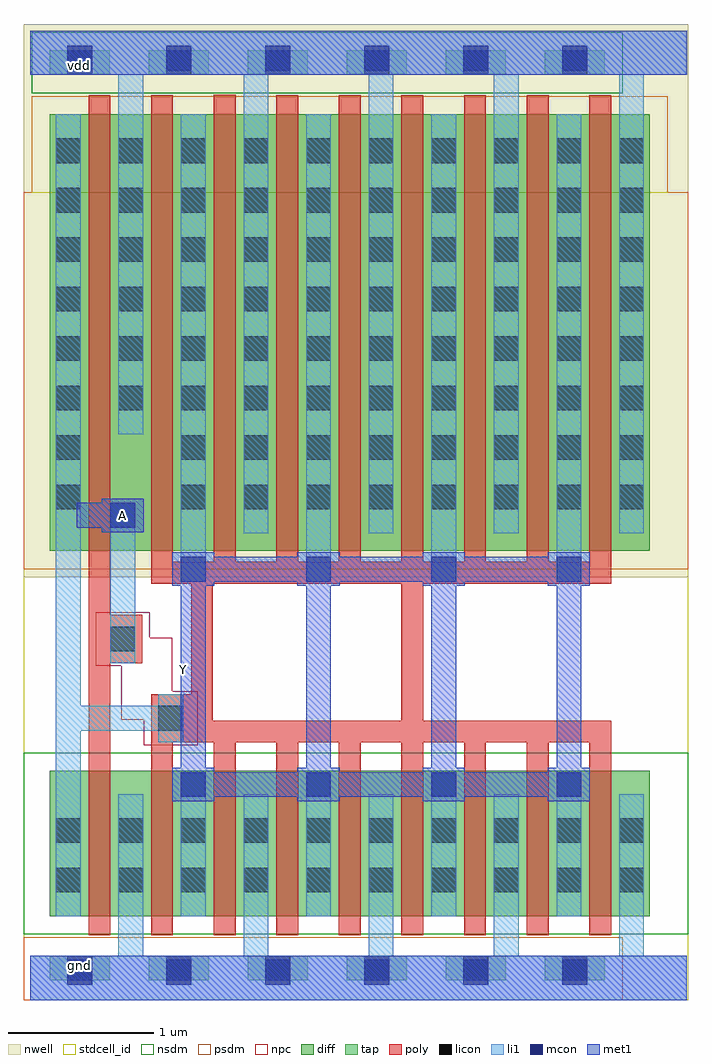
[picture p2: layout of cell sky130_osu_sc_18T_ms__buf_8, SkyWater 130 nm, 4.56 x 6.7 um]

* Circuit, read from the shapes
.subckt sky130_osu_sc_18T_ms__buf_8 A Y gnd vdd
XM1 gnd A n1 gnd sky130_fd_pr__nfet_01v8 w=1 l=0.15
XM2 Y n1 gnd gnd sky130_fd_pr__nfet_01v8 w=1 l=0.15 m=8
XM3 vdd A n1 vdd sky130_fd_pr__pfet_01v8 w=3 l=0.15
XM4 Y n1 vdd vdd sky130_fd_pr__pfet_01v8 w=3 l=0.15 m=8
.ends

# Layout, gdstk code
import gdstk
lib = gdstk.Library(unit=1e-6, precision=1e-09)
def R(c, l, rs):  # rectangles x0, y0, x1, y1
    for r in rs: c.add(gdstk.rectangle(r[:2], r[2:], *l))
def A(c, l, x, y, w, h, nx, ny, dx, dy):  # array of equal rectangles
    R(c, l, [(x+i*dx, y+j*dy, x+i*dx+w, y+j*dy+h) for i in range(nx) for j in range(ny)])
nwell = (64, 20)
diff = (65, 20)
tap = (65, 44)
poly = (66, 20)
licon = (66, 44)
li1 = (67, 20)
mcon = (67, 44)
met1 = (68, 20)
stdcell_id = (81, 4)
nsdm = (93, 44)
psdm = (94, 20)
npc = (95, 20)

sky130_osu_sc_18t_ms__bu = lib.new_cell('sky130_osu_sc_18T_ms__buf_8')
R(sky130_osu_sc_18t_ms__bu, nwell, [(-0.045,2.905,4.52,6.705)])
R(sky130_osu_sc_18t_ms__bu, diff, [(0.135,0.575,4.255,1.575), (0.135,3.085,4.255,6.085)])
A(sky130_osu_sc_18t_ms__bu, tap, 0.135, 0.135, 0.41, 0.17, 6, 2, 0.68, 6.22)
A(sky130_osu_sc_18t_ms__bu, poly, 0.83, 0.445, 0.15, 1.325, 8, 1, 0.43, 0)
A(sky130_osu_sc_18t_ms__bu, poly, 1.69, 3.01, 0.15, 3.205, 6, 1, 0.43, 0)
R(sky130_osu_sc_18t_ms__bu, poly, [(0.4,0.445,0.55,2.315), (0.83,1.77,3.99,1.92), (0.83,1.92,1.255,2.1), (2.55,1.92,2.7,2.86), (1.105,2.1,1.255,2.86), (0.4,2.315,0.77,2.645), (0.4,2.645,0.55,6.215), (0.83,2.86,3.99,3.01), (0.83,3.01,0.98,6.215), (1.26,3.01,1.41,6.22)])
A(sky130_osu_sc_18t_ms__bu, licon, 0.255, 0.135, 0.17, 0.17, 6, 2, 0.68, 6.22)
A(sky130_osu_sc_18t_ms__bu, licon, 0.175, 0.74, 0.17, 0.17, 10, 2, 0.43, 0.34)
A(sky130_osu_sc_18t_ms__bu, licon, 1.035, 3.37, 0.17, 0.17, 8, 2, 0.43, 0.34)
A(sky130_osu_sc_18t_ms__bu, licon, 0.175, 4.05, 0.17, 0.17, 10, 6, 0.43, 0.34)
R(sky130_osu_sc_18t_ms__bu, licon, [(0.88,1.85,1.05,2.02), (0.55,2.395,0.72,2.565), (0.175,3.37,0.345,3.54), (0.175,3.71,0.345,3.88)])
A(sky130_osu_sc_18t_ms__bu, li1, 0.605, 0.305, 0.17, 1.11, 5, 1, 0.86, 0)
A(sky130_osu_sc_18t_ms__bu, li1, 1.035, 0.575, 0.17, 0.99, 4, 1, 0.86, 0)
A(sky130_osu_sc_18t_ms__bu, li1, 1.035, 2.875, 0.17, 3.21, 4, 1, 0.86, 0)
A(sky130_osu_sc_18t_ms__bu, li1, 1.465, 3.205, 0.17, 3.15, 4, 1, 0.86, 0)
R(sky130_osu_sc_18t_ms__bu, li1, [(0,0,4.51,0.305), (0.175,0.575,0.345,1.85), (0.88,1.77,1.05,1.85), (0.175,1.85,1.05,2.02), (0.175,2.02,0.345,6.085), (0.88,2.02,1.05,2.1), (0.55,2.315,0.72,3.415), (0.605,3.885,0.775,6.355), (0,6.355,4.51,6.66)])
A(sky130_osu_sc_18t_ms__bu, mcon, 0.255, 0.105, 0.17, 0.17, 6, 2, 0.68, 6.28)
A(sky130_osu_sc_18t_ms__bu, mcon, 1.035, 1.395, 0.17, 0.17, 4, 2, 0.86, 1.48)
R(sky130_osu_sc_18t_ms__bu, mcon, [(0.55,3.245,0.72,3.415)])
A(sky130_osu_sc_18t_ms__bu, met1, 0.975, 1.365, 0.29, 0.03, 4, 2, 0.86, 0.2)
A(sky130_osu_sc_18t_ms__bu, met1, 1.035, 1.595, 0.17, 1.25, 4, 1, 0.86, 0)
A(sky130_osu_sc_18t_ms__bu, met1, 0.975, 2.845, 0.29, 0.03, 4, 2, 0.86, 0.2)
R(sky130_osu_sc_18t_ms__bu, met1, [(0,0,4.51,0.305), (0.975,1.395,3.845,1.565), (0.975,2.875,3.845,3.045), (0.49,3.215,0.78,3.245), (0.32,3.245,0.78,3.415), (0.49,3.415,0.78,3.445), (0,6.355,4.51,6.66)])
R(sky130_osu_sc_18t_ms__bu, stdcell_id, [(-0.045,0,4.52,5.55)])
R(sky130_osu_sc_18t_ms__bu, nsdm, [(-0.045,0.45,4.52,1.7), (0.01,6.23,4.07,6.65)])
R(sky130_osu_sc_18t_ms__bu, psdm, [(-0.045,0,4.07,0.43), (-0.045,2.96,4.52,5.55), (0.01,5.55,4.38,6.21)])
R(sky130_osu_sc_18t_ms__bu, npc, [(0.78,1.75,1.15,1.925), (0.625,1.925,1.15,2.12), (0.625,2.12,0.975,2.295), (0.45,2.295,0.975,2.49), (0.45,2.49,0.82,2.665)])
sky130_osu_sc_18t_ms__bu.add(gdstk.Label('gnd', (0.34,0.24), layer=68, texttype=16))
sky130_osu_sc_18t_ms__bu.add(gdstk.Label('vdd', (0.34,6.42), layer=68, texttype=16))
sky130_osu_sc_18t_ms__bu.add(gdstk.Label('A', (0.635,3.33), layer=68, texttype=5))
sky130_osu_sc_18t_ms__bu.add(gdstk.Label('Y', (1.055,2.27), layer=68, texttype=5))

lib.write_gds('sky130_osu_sc_18T_ms__buf_8.gds')
